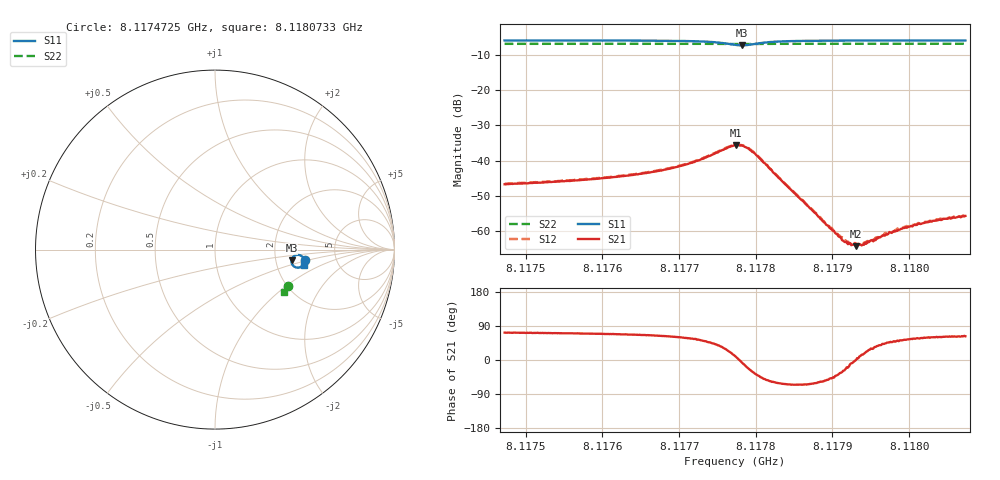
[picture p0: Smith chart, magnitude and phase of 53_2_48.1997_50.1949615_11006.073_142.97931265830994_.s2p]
#  HZ  S  RI  R  50.00
! Rohde & Schwarz Vector Network Analyzer
! Rohde-Schwarz,ZNB20-2Port,1311601062101988,3.16
! Created: UTC 3/20/2024, 11:38:21 AM
! freq[Hz]  re:S11  im:S11  re:S21  im:S21  re:S12  im:S12  re:S22  im:S22
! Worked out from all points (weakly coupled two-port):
!   401 points, 8.1174725 GHz to 8.1180733 GHz, reference 50 ohm
!   highest |S21| = -35.57 dB at 8.1177745 GHz (marker M1); lowest = -64.2 dB at 8.1179307 GHz (marker M2)
!   lowest |S11| = -7.3 dB at 8.117782 GHz (marker M3), VSWR 2.51, Z = 122 - j17.9 ohm
!   |S11| at or under -10 dB: nowhere
!   |S22| runs from -6.9 to -6.9 dB; largest |S21 - S12| = 0.00057
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8.11747255e9  0.502 -0.0555  0.0014 0.00441  0.00147 0.0045  0.4054 -0.2002
8.11757318e9  0.4998 -0.0661  0.00184 0.00502  0.00194 0.00507  0.4024 -0.2068
8.11762876e9  0.4976 -0.0734  0.00233 0.00562  0.00241 0.00568  0.4007 -0.2103
8.11767382e9  0.4941 -0.0812  0.00315 0.00644  0.00328 0.00657  0.399 -0.2133
8.11771587e9  0.4855 -0.0917  0.00516 0.00776  0.00531 0.00788  0.3972 -0.2164
8.11775492e9  0.456 -0.1002  0.0113 0.00798  0.0117 0.00795  0.3949 -0.2185
8.11777295e9  0.4299 -0.0814  0.0161 0.00303  0.0165 0.00283  0.3934 -0.2184
8.11777445e9  0.4285 -0.0783  0.0165 0.00228  0.0167 0.00201  0.3932 -0.2184
8.11778196e9  0.4263 -0.0597  0.0162 -0.002  0.0164 -0.00209  0.3931 -0.218
8.11778947e9  0.4338 -0.0427  0.0141 -0.00532  0.0142 -0.00548  0.3936 -0.2178
8.11779998e9  0.4525 -0.0304  0.00978 -0.00739  0.00985 -0.00769  0.3942 -0.2181
8.11782852e9  0.4853 -0.0383  0.00291 -0.00515  0.00298 -0.00527  0.3947 -0.2205
8.11787358e9  0.4967 -0.0559  0.000927 -0.00176  0.000924 -0.00182  0.3937 -0.2241
8.11790512e9  0.4983 -0.0635  0.000695 -0.000605  0.00069 -0.000606  0.3926 -0.2264
8.11791414e9  0.4984 -0.0653  0.000646 -0.000348  0.000722 -0.000382  0.3922 -0.2269
8.11792465e9  0.4987 -0.0671  0.000626 -9.53e-05  0.000652 -0.000125  0.392 -0.2277
8.11793066e9  0.4987 -0.0681  0.000615 -3.84e-07  0.00067 -3.12e-06  0.3917 -0.2283
8.11794117e9  0.4987 -0.0698  0.000617 0.000186  0.000668 0.000181  0.3913 -0.2288
8.11797422e9  0.4986 -0.0745  0.000673 0.000706  0.000663 0.000703  0.3903 -0.2309
8.11800275e9  0.4985 -0.0781  0.000673 0.000984  0.000696 0.00101  0.3893 -0.2328
8.1180388e9  0.4981 -0.0819  0.000717 0.00128  0.000757 0.00126  0.3881 -0.235
8.11807335e9  0.4976 -0.0854  0.000757 0.00146  0.000766 0.00149  0.3869 -0.2371
